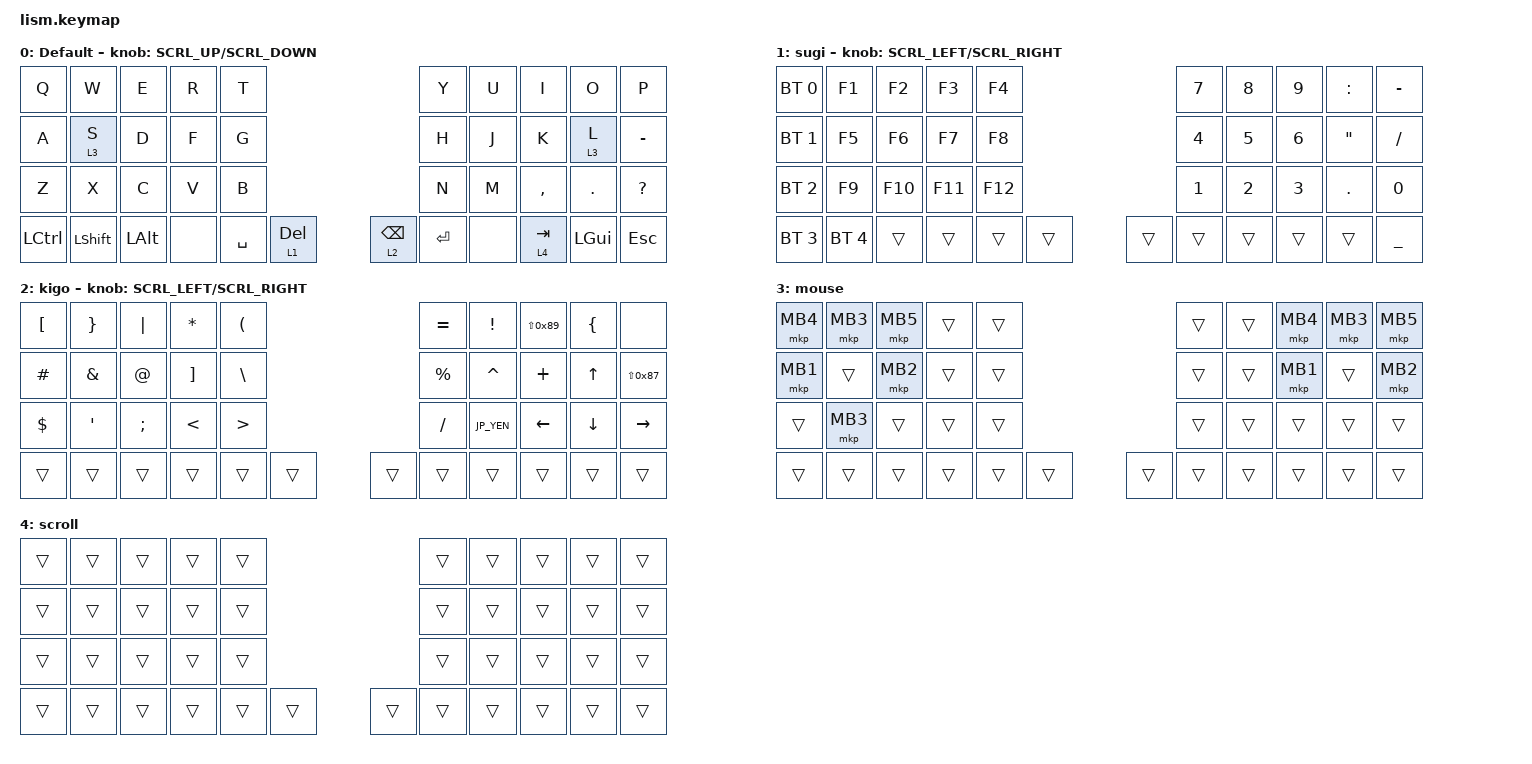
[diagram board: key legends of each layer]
#define ZMK_POINTING_DEFAULT_SCRL_VAL 200

#include <dt-bindings/zmk/mouse.h>
#include <behaviors.dtsi>
#include <dt-bindings/zmk/bt.h>
#include <dt-bindings/zmk/keys.h>
#include <dt-bindings/zmk/pointing.h>

// OS設定を日本語キーボードのまま使用するための変換定義

#define JP_DQUOTE       AT                // "
#define JP_AMPERSAND    CARET             // &
#define JP_QUOTE        AMPERSAND         // '
#define JP_EQUAL        UNDER             // =
#define JP_CARET        EQUAL             // ^
#define JP_YEN          0x89              // ¥
#define JP_PLUS         COLON             // +
#define JP_TILDE        PLUS              // ~
#define JP_PIPE         LS(0x89)          // |
#define JP_AT           LEFT_BRACKET      // @
#define JP_COLON        SINGLE_QUOTE      // :
#define JP_ASTERISK     DOUBLE_QUOTES     // *
#define JP_BACKQUOTE    LEFT_BRACE        // `
#define JP_UNDERSCORE   LS(0x87)          // _
#define JP_LBRACKET     RIGHT_BRACKET     // [
#define JP_RBRACKET     BACKSLASH         // ]
#define JP_LPAREN       ASTERISK          // (
#define JP_RPAREN       LEFT_PARENTHESIS  // )
#define JP_LBRACE       RIGHT_BRACE       // {
#define JP_RBRACE       PIPE              // }
#define JP_KANA         LANGUAGE_1        // かな
#define JP_EISU         LANGUAGE_2        // 英数
#define JP_HANZEN       GRAVE             // 半角/全角

&mt {
    tapping-term-ms = <300>;
    flavor = "balanced";
};

&lt { quick-tap-ms = <300>; };

/ {
    macros {
        emoji: emoji_macro {
            compatible = "zmk,behavior-macro";
            label = "EMOJI";
            #binding-cells = <0>;
            bindings =
                <&macro_press>,
                <&kp CAPSLOCK>,
                <&macro_tap>,
                <&kp E>,
                <&macro_release>,
                <&kp CAPSLOCK>;
        };
    };

    behaviors {
        encoder_msc: sensor_rotate_msc {
            compatible = "zmk,behavior-sensor-rotate-var";
            #sensor-binding-cells = <2>;
            bindings = <&msc>, <&msc>;

            tap-ms = <20>;
        };

        encoder_kp: sensor_rotate_kp {
            compatible = "zmk,behavior-sensor-rotate-var";
            #sensor-binding-cells = <2>;
            bindings = <&kp>, <&kp>;
        };
    };

    combos {
        compatible = "zmk,combos";

        En {
            bindings = <&kp LANGUAGE_2>;
            key-positions = <34 35>;
        };

        Ja {
            bindings = <&kp LANGUAGE_1>;
            key-positions = <36 37>;
        };

        BC {
            bindings = <&bt BT_CLR>;
            key-positions = <24 22>;
        };

        BCA {
            bindings = <&bt BT_CLR_ALL>;
            key-positions = <24 22 10>;
        };
    };

    keymap {
        compatible = "zmk,keymap";

        Default {
            bindings = <
&kp Q      &kp W      &kp E     &kp R  &kp T                                       &kp Y      &kp U  &kp I      &kp O     &kp P
&kp A      &lt 3 S    &kp D     &kp F  &kp G                                       &kp H      &kp J  &kp K      &lt 3 L   &kp MINUS
&kp Z      &kp X      &kp C     &kp V  &kp B                                       &kp N      &kp M  &kp COMMA  &kp DOT   &kp QUESTION
&kp LCTRL  &kp LSHFT  &kp LALT  &none  &kp SPACE  &lt 1 DELETE    &lt 2 BACKSPACE  &kp ENTER  &none  &lt 4 TAB  &kp LGUI  &kp ESC
            >;

            sensor-bindings = <&encoder_msc SCRL_UP SCRL_DOWN>;
        };

        sugi {
            bindings = <
&bt BT_SEL 0  &kp F1        &kp F2   &kp F3   &kp F4                     &kp N7  &kp N8  &kp N9  &kp JP_PLUS      &kp MINUS
&bt BT_SEL 1  &kp F5        &kp F6   &kp F7   &kp F8                     &kp N4  &kp N5  &kp N6  &kp JP_ASTERISK  &kp FSLH
&bt BT_SEL 2  &kp F9        &kp F10  &kp F11  &kp F12                    &kp N1  &kp N2  &kp N3  &kp DOT          &kp N0
&bt BT_SEL 3  &bt BT_SEL 4  &trans   &trans   &trans   &trans    &trans  &trans  &trans  &trans  &trans           &kp JP_EQUAL
            >;

            sensor-bindings = <&encoder_msc SCRL_LEFT SCRL_RIGHT>;
        };

        kigo {
            bindings = <
&kp JP_AT   &kp JP_LBRACE  &kp JP_RBRACE  &kp JP_LPAREN    &kp JP_RPAREN                       &kp JP_CARET  &kp EXCLAMATION   &kp JP_PIPE     &kp JP_BACKQUOTE  &none
&kp HASH    &kp JP_QUOTE   &kp JP_DQUOTE  &kp JP_LBRACKET  &kp JP_RBRACKET                     &kp PERCENT   &kp JP_AMPERSAND  &kp JP_TILDE    &kp UP_ARROW      &kp JP_UNDERSCORE
&kp DOLLAR  &kp JP_COLON   &kp SEMICOLON  &kp LESS_THAN    &kp GREATER_THAN                    &kp SLASH     &kp JP_YEN        &kp LEFT_ARROW  &kp DOWN_ARROW    &kp RIGHT_ARROW
&trans      &trans         &trans         &trans           &trans            &trans    &trans  &trans        &trans            &trans          &trans            &trans
            >;

            sensor-bindings = <&encoder_msc SCRL_LEFT SCRL_RIGHT>;
        };

        mouse {
            bindings = <
&mkp MB4  &mkp MB3  &mkp MB5  &trans  &trans                    &trans  &trans  &mkp MB4  &mkp MB3  &mkp MB5
&mkp MB1  &trans    &mkp MB2  &trans  &trans                    &trans  &trans  &mkp MB1  &trans    &mkp MB2
&trans    &mkp MB3  &trans    &trans  &trans                    &trans  &trans  &trans    &trans    &trans
&trans    &trans    &trans    &trans  &trans  &trans    &trans  &trans  &trans  &trans    &trans    &trans
            >;
        };

        scroll {
            bindings = <
&trans  &trans  &trans  &trans  &trans                    &trans  &trans  &trans  &trans  &trans
&trans  &trans  &trans  &trans  &trans                    &trans  &trans  &trans  &trans  &trans
&trans  &trans  &trans  &trans  &trans                    &trans  &trans  &trans  &trans  &trans
&trans  &trans  &trans  &trans  &trans  &trans    &trans  &trans  &trans  &trans  &trans  &trans
            >;
        };
    };
};
